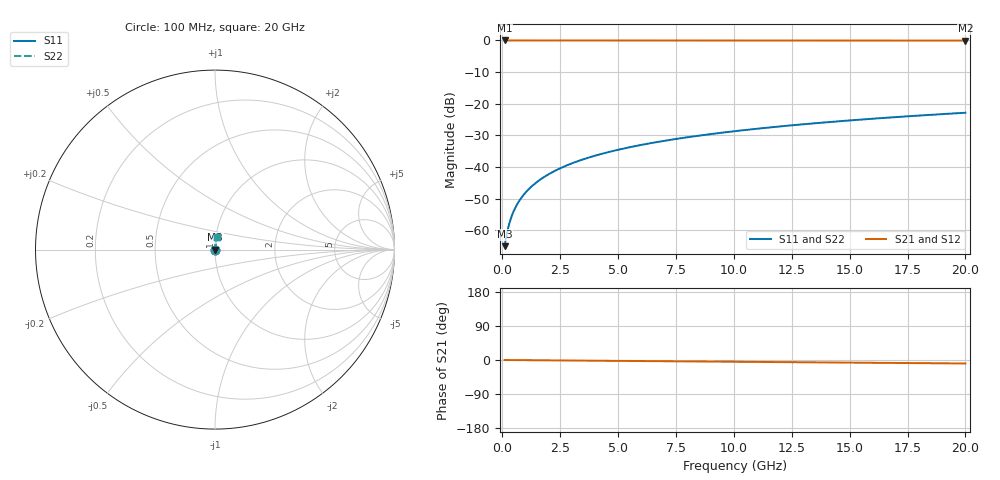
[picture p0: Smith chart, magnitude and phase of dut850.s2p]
! Touchstone file exported from HFSS 2026.1.0
!  File:  C:/ffzhzh/LocalFiles/Ansys_Project_Files/temp_train_TSV_850_1783185134_43440.aedt
!  Generated:  01:14:02 AM Jul  5, 2026
!  Design:  TSV
!  Project:  temp_train_TSV_850_1783185134_43440
! Variables:
!  h_bsmrdl = 2um
!  h_ox = 20um
!  h_rdl = 5um
!  h_sub = 80.86um
!  h_tmrdl = 5um
!  h_tsv = 80.86um
!  h_via = 3um
!  l_bsmrdl = 300um
!  l_sub = 410.16um
!  l_tmrdl = 200um
!  m_sub = 200um
!  pitch = 41.94um
!  r_tsv = 5.08um
!  s_tmrdl = 10um
!  w_bsmrdl = 18um
!  w_sub = 500um
!  w_tmrdl = 12um
!  x_tsv_center1 = 206um
!  x_tsv_center2 = 524um
!  x_tsv_center3 = 736um
!  x_tsv_center4 = 1054um
!  x_tsv_center5 = 1266um
!  x_tsv_center6 = 1584um
# GHz S MA R 50.000000
! Terminal data exported
! Port[1] = TSV1_1_T1
! Port[2] = TSV1_1_T2
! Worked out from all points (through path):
!   200 points, 100 MHz to 20 GHz, reference 50 ohm
!   highest |S21| = 0.00 dB at 100 MHz (marker M1); lowest = 0.0 dB at 20 GHz (marker M2)
!   group delay of S21, straight-line fit = 1.27 ps
!   lowest |S11| = -65.0 dB at 100 MHz (marker M3), VSWR 1.00, Z = 50 + j0.0405 ohm
!   |S11| at or under -10 dB: start of sweep to end of sweep
!   |S22| runs from -65.0 to -22.8 dB; largest |S21 - S12| = 7.6e-15
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0.1  0.0005625 46.0  0.9996 -0.0  0.9996 -0.0  0.0005625 46.0
! Gamma 0 0 0 0
! Port Impedance 50 0 50 0
0.2  0.0009013 63.6  0.9996 -0.1  0.9996 -0.1  0.0009013 63.6
0.3  0.001276 70.9  0.9996 -0.1  0.9996 -0.1  0.001276 70.9
0.4  0.001658 74.8  0.9996 -0.2  0.9996 -0.2  0.001658 74.8
0.5  0.002041 77.1  0.9996 -0.2  0.9996 -0.2  0.002041 77.1
0.7  0.002803 79.7  0.9995 -0.3  0.9995 -0.3  0.002803 79.7
0.8  0.003182 80.6  0.9995 -0.4  0.9995 -0.4  0.003182 80.6
1  0.003938 81.8  0.9995 -0.5  0.9995 -0.5  0.003938 81.8
1.2  0.004691 82.6  0.9994 -0.6  0.9994 -0.6  0.004691 82.6
1.4  0.005443 83.2  0.9994 -0.7  0.9994 -0.7  0.005443 83.2
1.7  0.00657 83.8  0.9993 -0.8  0.9993 -0.8  0.00657 83.8
2  0.007694 84.1  0.9993 -0.9  0.9993 -0.9  0.007694 84.1
2.7  0.0103 84.5  0.9992 -1.3  0.9992 -1.3  0.0103 84.5
3.5  0.01326 84.6  0.999 -1.6  0.999 -1.6  0.01326 84.6
4.2  0.01583 84.6  0.9989 -2.0  0.9989 -2.0  0.01583 84.6
5  0.01875 84.4  0.9988 -2.3  0.9988 -2.3  0.01875 84.4
6.8  0.02526 84.0  0.9984 -3.2  0.9984 -3.2  0.02526 84.0
8.3  0.03065 83.5  0.9981 -3.8  0.9981 -3.8  0.03065 83.5
10.1  0.03709 83.0  0.9978 -4.7  0.9978 -4.7  0.03709 83.0
13.4  0.04885 81.8  0.9971 -6.2  0.9971 -6.2  0.04885 81.8
16.7  0.06052 80.5  0.9962 -7.7  0.9962 -7.7  0.06052 80.5
20  0.07209 79.1  0.9953 -9.2  0.9953 -9.2  0.07209 79.1
